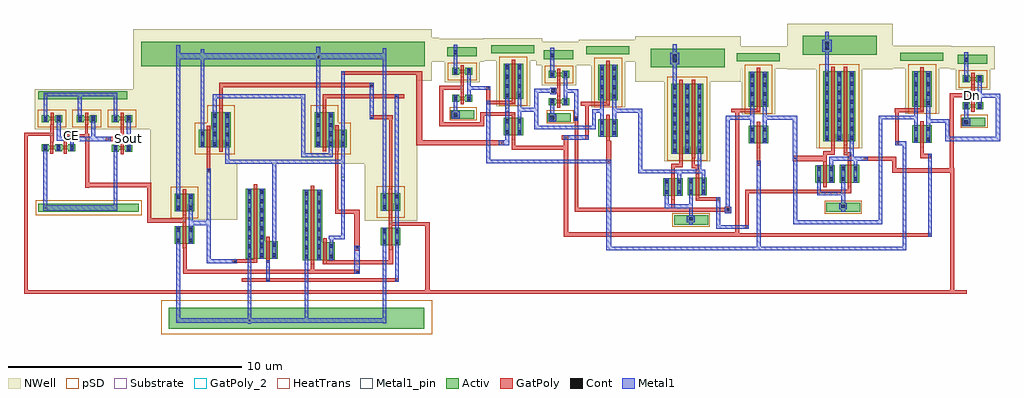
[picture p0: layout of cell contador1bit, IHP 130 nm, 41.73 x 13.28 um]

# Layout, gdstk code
import gdstk
lib = gdstk.Library(unit=1e-6, precision=5e-09)
def R(c, l, rs):  # rectangles x0, y0, x1, y1
    for r in rs: c.add(gdstk.rectangle(r[:2], r[2:], *l))
def A(c, l, x, y, w, h, nx, ny, dx, dy):  # array of equal rectangles
    R(c, l, [(x+i*dx, y+j*dy, x+i*dx+w, y+j*dy+h) for i in range(nx) for j in range(ny)])
Activ = (1, 0)
GatPoly = (5, 0)
GatPoly_2 = (5, 2)
Cont = (6, 0)
Metal1 = (8, 0)
Metal1_pin = (8, 2)
pSD = (14, 0)
NWell = (31, 0)
Substrate = (40, 0)
HeatTrans = (51, 0)

pmos = lib.new_cell('pmos')
R(pmos, Activ, [(0,0,0.3,0.3), (0.57,0,0.87,0.3), (0,0.075,0.87,0.225)])
R(pmos, GatPoly, [(0.37,-0.105,0.5,0.405), (0.37,-0.105,0.5,0.405)])
R(pmos, Cont, [(0.07,0.07,0.23,0.23), (0.64,0.07,0.8,0.23)])
R(pmos, Metal1, [(0.07,0.02,0.23,0.28), (0.07,0.02,0.23,0.28), (0.64,0.02,0.8,0.28), (0.64,0.02,0.8,0.28)])
R(pmos, pSD, [(-0.18,-0.225,1.05,0.525)])
R(pmos, NWell, [(-0.31,-0.31,1.18,0.61)])
R(pmos, Substrate, [(0.57,0,0.87,0.3)])
R(pmos, HeatTrans, [(0.37,-0.105,0.5,0.405)])
pmos.add(gdstk.Label('pmos', (0.435,0.15), layer=63, texttype=0))
pmos.add(gdstk.Label('pmos', (0.435,0.15), layer=51, texttype=0))

nmos_1 = lib.new_cell('nmos$1')
R(nmos_1, Activ, [(0,0,0.3,0.3), (0.57,0,0.87,0.3), (0,0.075,0.87,0.225)])
R(nmos_1, GatPoly, [(0.37,-0.105,0.5,0.405)])
R(nmos_1, GatPoly_2, [(0.37,-0.105,0.5,0.405)])
R(nmos_1, Cont, [(0.07,0.07,0.23,0.23), (0.64,0.07,0.8,0.23)])
R(nmos_1, Metal1, [(0.07,0.02,0.23,0.28), (0.64,0.02,0.8,0.28)])
R(nmos_1, Metal1_pin, [(0.07,0.02,0.23,0.28), (0.64,0.02,0.8,0.28)])
R(nmos_1, HeatTrans, [(0.37,-0.105,0.5,0.405)])
nmos_1.add(gdstk.Label('nmos', (0.435,0.15), layer=63, texttype=0))
nmos_1.add(gdstk.Label('nmos', (0.435,0.15), layer=51, texttype=0))

inversor = lib.new_cell('inversor')
R(inversor, Activ, [(0.69,-0.325,1.695,0.04), (0.53,2.34,1.795,2.73)])
R(inversor, GatPoly, [(1.115,0.69,1.245,1.53)])
R(inversor, Cont, [(0.815,-0.235,0.975,-0.075), (0.815,2.43,0.975,2.59)])
R(inversor, Metal1, [(0.735,-0.31,1.065,-0.005), (0.815,-0.28,0.975,0.54), (1.385,0.54,1.545,1.735), (0.815,1.7,0.975,2.835)])
R(inversor, Metal1_pin, [(0.815,-0.235,0.975,-0.075), (0.815,2.43,0.975,2.59)])
R(inversor, pSD, [(0.655,-0.395,1.81,0.165)])
R(inversor, NWell, [(0.2,2.1,2.115,3.095)])
inversor.add(gdstk.Reference(pmos, (0.745,1.55)))
inversor.add(gdstk.Reference(nmos_1, (0.745,0.39)))
inversor.add(gdstk.Label('Vss', (0.905,-0.165), layer=8, texttype=2))
inversor.add(gdstk.Label('Vdd', (0.87,2.535), layer=8, texttype=2))

pmos_1_1 = lib.new_cell('pmos$1$1')
R(pmos_1_1, Activ, [(0,0,0.3,0.3), (0,0,0.83,3), (0.53,0,0.83,0.3)])
R(pmos_1_1, GatPoly, [(0.34,-0.18,0.49,3.18), (0.34,-0.18,0.49,3.18)])
A(pmos_1_1, Cont, 0.07, 0.07, 0.16, 0.16, 1, 7, 0, 0.385)
A(pmos_1_1, Cont, 0.6, 0.07, 0.16, 0.16, 1, 7, 0, 0.385)
R(pmos_1_1, Cont, [(0.07,2.77,0.23,2.93), (0.6,2.77,0.76,2.93)])
R(pmos_1_1, Metal1, [(0.07,0,0.23,3), (0.07,0,0.23,3), (0.6,0,0.76,3), (0.6,0,0.76,3)])
R(pmos_1_1, pSD, [(-0.18,-0.3,1.01,3.3)])
R(pmos_1_1, NWell, [(-0.31,-0.31,1.14,3.31)])
R(pmos_1_1, Substrate, [(0.53,0,0.83,0.3)])
R(pmos_1_1, HeatTrans, [(0.34,-0.18,0.49,3.18)])
pmos_1_1.add(gdstk.Label('pmos', (0.415,1.5), layer=63, texttype=0))
pmos_1_1.add(gdstk.Label('pmos', (0.415,1.5), layer=51, texttype=0))

nmos_1_1 = lib.new_cell('nmos$1$1')
R(nmos_1_1, Activ, [(0,0,0.3,0.3), (0,0,0.83,0.75), (0.53,0,0.83,0.3)])
R(nmos_1_1, GatPoly, [(0.34,-0.18,0.49,0.93)])
R(nmos_1_1, GatPoly_2, [(0.34,-0.18,0.49,0.93)])
R(nmos_1_1, Cont, [(0.07,0.07,0.23,0.23), (0.6,0.07,0.76,0.23), (0.07,0.52,0.23,0.68), (0.6,0.52,0.76,0.68)])
R(nmos_1_1, Metal1, [(0.07,0,0.23,0.75), (0.6,0,0.76,0.75)])
R(nmos_1_1, Metal1_pin, [(0.07,0,0.23,0.75), (0.6,0,0.76,0.75)])
R(nmos_1_1, HeatTrans, [(0.34,-0.18,0.49,0.93)])
nmos_1_1.add(gdstk.Label('nmos', (0.415,0.375), layer=63, texttype=0))
nmos_1_1.add(gdstk.Label('nmos', (0.415,0.375), layer=51, texttype=0))

puertanor = lib.new_cell('puertanor')
R(puertanor, Activ, [(8.035,3.76,9.485,4.155), (7.02,10.49,10.2,11.295)])
R(puertanor, GatPoly, [(7.905,5.935,8.055,6.365), (8.945,5.95,9.095,6.305), (8.78,6.185,9.095,6.315), (8.78,6.19,8.92,7.01), (7.905,6.21,8.4,6.365), (8.25,6.21,8.4,7.035)])
R(puertanor, Cont, [(8.675,3.945,8.835,4.075), (7.98,10.705,8.14,11.045)])
R(puertanor, Metal1, [(8.675,3.76,8.835,5.385), (8.58,3.875,8.915,4.13), (7.635,4.465,8.835,4.63), (7.635,4.465,7.795,5.125), (9.205,5.57,9.365,6.045), (8.165,5.755,8.325,6.045), (8.165,5.96,9.365,6.12), (9.04,5.96,9.2,6.87), (7.98,9.635,8.14,11.475), (7.855,10.62,8.26,11.12)])
R(puertanor, Metal1_pin, [(8.675,3.945,8.835,4.075), (7.98,10.755,8.14,11)])
R(puertanor, pSD, [(7.96,3.68,9.55,4.245)])
R(puertanor, NWell, [(6.37,9.87,10.88,11.81)])
puertanor.add(gdstk.Reference(pmos_1_1, (7.91,6.785)))
puertanor.add(gdstk.Reference(nmos_1_1, (8.605,5.02)))
puertanor.add(gdstk.Reference(nmos_1_1, (7.565,5.005)))
puertanor.add(gdstk.Reference(pmos_1_1, (8.44,6.785)))
puertanor.add(gdstk.Label('Vss', (8.74,4.01), layer=8, texttype=2))
puertanor.add(gdstk.Label('vdd', (8.06,10.865), layer=8, texttype=2))

nmos = lib.new_cell('nmos')
R(nmos, Activ, [(0,0,0.3,0.3), (0,0,0.83,0.75), (0.53,0,0.83,0.3)])
R(nmos, GatPoly, [(0.34,-0.18,0.49,0.93)])
R(nmos, GatPoly_2, [(0.34,-0.18,0.49,0.93)])
R(nmos, Cont, [(0.07,0.07,0.23,0.23), (0.6,0.07,0.76,0.23), (0.07,0.52,0.23,0.68), (0.6,0.52,0.76,0.68)])
R(nmos, Metal1, [(0.07,0,0.23,0.75), (0.6,0,0.76,0.75)])
R(nmos, Metal1_pin, [(0.07,0,0.23,0.75), (0.6,0,0.76,0.75)])
R(nmos, HeatTrans, [(0.34,-0.18,0.49,0.93)])
nmos.add(gdstk.Label('nmos', (0.415,0.375), layer=63, texttype=0))
nmos.add(gdstk.Label('nmos', (0.415,0.375), layer=51, texttype=0))

pmos_1 = lib.new_cell('pmos$1')
R(pmos_1, Activ, [(0,0,0.3,0.3), (0,0,0.83,1.5), (0.53,0,0.83,0.3)])
R(pmos_1, GatPoly, [(0.34,-0.18,0.49,1.68), (0.34,-0.18,0.49,1.68)])
A(pmos_1, Cont, 0.07, 0.07, 0.16, 0.16, 1, 4, 0, 0.4)
A(pmos_1, Cont, 0.6, 0.07, 0.16, 0.16, 1, 4, 0, 0.4)
R(pmos_1, Metal1, [(0.07,0,0.23,1.5), (0.07,0,0.23,1.5), (0.6,0,0.76,1.5), (0.6,0,0.76,1.5)])
R(pmos_1, pSD, [(-0.18,-0.3,1.01,1.8)])
R(pmos_1, NWell, [(-0.31,-0.31,1.14,1.81)])
R(pmos_1, Substrate, [(0.53,0,0.83,0.3)])
R(pmos_1, HeatTrans, [(0.34,-0.18,0.49,1.68)])
pmos_1.add(gdstk.Label('pmos', (0.415,0.75), layer=63, texttype=0))
pmos_1.add(gdstk.Label('pmos', (0.415,0.75), layer=51, texttype=0))

interruptor = lib.new_cell('interruptor')
R(interruptor, Activ, [(2.655,5.625,4.49,5.965)])
R(interruptor, GatPoly, [(2.425,3.43,3.665,3.59)])
R(interruptor, Metal1, [(3.775,2.66,3.935,3.885), (3.245,2.735,3.405,4.385)])
R(interruptor, NWell, [(2.335,5.295,4.835,6.255)])
interruptor.add(gdstk.Reference(nmos, (3.175,2.105)))
interruptor.add(gdstk.Reference(pmos_1, (3.175,3.665)))

flipflop = lib.new_cell('flipflop')
R(flipflop, GatPoly, [(4.765,5.065,4.97,8.795), (4.765,5.065,12.27,5.27), (12.11,5.065,12.27,10.54), (12.11,5.065,20.515,5.225), (12.54,5.405,12.68,7.08), (11.645,6.08,11.93,6.355), (5.235,6.13,5.39,8.31), (5.235,6.13,11.865,6.315), (9.365,6.13,9.515,6.695), (10.405,6.605,11.455,6.755), (12.68,6.92,17.06,7.08), (16.91,6.92,17.06,7.21), (18.825,7.815,18.995,8.49), (18.825,7.815,21.455,8.01), (21.28,7.815,21.455,11.215), (13.025,8.105,13.175,8.88), (5.235,8.14,5.39,10.225), (6.595,8.21,6.795,9.175), (14.56,8.305,16.02,8.54), (17.59,8.33,18.995,8.49), (20.02,8.42,20.17,8.47), (20.02,8.42,20.515,8.61), (20.02,8.47,20.17,8.9), (2.54,8.795,2.69,9.225), (2.54,8.795,4.97,8.965), (4.765,8.795,4.97,9.405), (18.955,8.985,19.105,10.56), (4.685,9.225,4.955,9.405), (5.695,9.225,5.845,10.84), (-0.555,9.805,-0.39,11.525), (-0.555,9.805,1.38,9.965), (1.205,9.805,1.38,10.395), (1.205,10.235,1.975,10.395), (1.975,10.24,2.69,10.395), (1.455,10.735,1.625,11.515), (21.28,11.04,22.335,11.215), (4.24,11.225,4.63,11.39), (-0.555,11.36,0.495,11.525)])
R(flipflop, GatPoly_2, [(16.745,8.56,16.885,8.69), (22.205,11.04,22.335,11.205), (0.365,11.355,0.495,11.525)])
R(flipflop, Cont, [(20.43,5.135,20.45,5.155), (12.605,5.48,12.625,5.5), (11.735,6.16,11.845,6.28), (11.365,6.67,11.395,6.695), (13.095,8.2,13.115,8.225), (6.675,8.28,6.715,8.305), (17.66,8.4,17.695,8.43), (14.63,8.405,14.685,8.455), (20.435,8.5,20.455,8.535), (19.025,9.06,19.045,9.08), (4.85,9.29,4.885,9.33), (5.765,9.315,5.785,9.33), (5.255,10.075,5.365,10.165), (5.255,10.075,5.365,10.165), (1.525,10.805,1.55,10.825), (4.24,11.225,4.385,11.39), (1.525,11.43,1.56,11.455)])
R(flipflop, Metal1, [(6.59,4.49,6.795,8.21), (6.59,4.49,13.445,4.65), (13.445,4.49,19.42,4.65), (19.26,4.49,19.42,9.145), (13.025,4.65,13.185,8.32), (20.355,5.065,20.515,8.61), (11.295,5.405,11.455,6.755), (11.295,5.405,12.68,5.57), (14.58,5.615,18.395,5.775), (14.58,5.615,14.745,8.32), (18.235,5.615,18.395,10.255), (11.645,6.08,11.93,6.355), (11.705,6.13,11.865,10.235), (7.95,7.78,9.785,7.945), (7.95,7.79,8.12,10.535), (1.45,8.21,1.625,10.885), (1.45,8.21,5.84,8.37), (5.84,8.21,6.795,8.37), (14.56,8.32,14.745,10.24), (14.58,8.32,14.745,8.535), (17.16,8.33,17.77,8.49), (18.955,8.985,19.42,9.145), (21.085,9.15,21.255,10.095), (21.085,9.15,23.425,9.35), (23.245,9.15,23.425,11.185), (4.765,9.225,5.715,9.405), (5.59,9.225,5.845,9.405), (3.51,9.66,6.14,9.82), (3.51,9.66,3.67,10.585), (5.98,9.66,6.14,10.525), (20.28,9.935,21.255,10.095), (5.23,10.03,5.39,11.38), (11.705,10.07,12.915,10.235), (13.285,10.075,14.745,10.24), (18.235,10.09,19.91,10.255), (6.02,10.365,6.485,10.525), (6.855,10.37,8.12,10.535), (2.805,10.42,3.67,10.585), (3.51,10.42,3.67,11.39), (22.475,11.02,23.425,11.185), (4.19,11.17,4.44,11.44), (4.77,11.22,5.39,11.38), (3.51,11.225,4.385,11.39), (0.635,11.355,1.625,11.515)])
R(flipflop, Metal1_pin, [(2.27,10.415,2.43,10.58)])
R(flipflop, NWell, [(5.495,12.41,5.945,12.545)])
flipflop.add(gdstk.Reference(inversor, (3.385,10.31)))
flipflop.add(gdstk.Reference(puertanor, (1.46,1.825)))
flipflop.add(gdstk.Reference(interruptor, (-0.975,7.3)))
flipflop.add(gdstk.Reference(interruptor, (3.08,7.25)))
flipflop.add(gdstk.Reference(interruptor, (9.51,6.955)))
flipflop.add(gdstk.Reference(inversor, (21.09,10.125)))
flipflop.add(gdstk.Reference(puertanor, (7.965,2.37)))
flipflop.add(gdstk.Reference(interruptor, (16.505,6.975)))
flipflop.add(gdstk.Reference(inversor, (-0.75,10.445)))
flipflop.add(gdstk.Label('clk', (0.43,11.44), layer=5, texttype=2))
flipflop.add(gdstk.Label('clr', (16.82,8.605), layer=5, texttype=2))

pmos_2 = lib.new_cell('pmos$2')
R(pmos_2, Activ, [(0,0,0.3,0.3), (0,0,0.83,0.75), (0.53,0,0.83,0.3)])
R(pmos_2, GatPoly, [(0.34,-0.18,0.49,0.93), (0.34,-0.18,0.49,0.93)])
R(pmos_2, Cont, [(0.07,0.07,0.23,0.23), (0.6,0.07,0.76,0.23), (0.07,0.52,0.23,0.68), (0.6,0.52,0.76,0.68)])
R(pmos_2, Metal1, [(0.07,0,0.23,0.75), (0.07,0,0.23,0.75), (0.6,0,0.76,0.75), (0.6,0,0.76,0.75)])
R(pmos_2, pSD, [(-0.18,-0.3,1.01,1.05)])
R(pmos_2, NWell, [(-0.31,-0.31,1.14,1.06)])
R(pmos_2, Substrate, [(0.53,0,0.83,0.3)])
R(pmos_2, HeatTrans, [(0.34,-0.18,0.49,0.93)])
pmos_2.add(gdstk.Label('pmos', (0.415,0.375), layer=63, texttype=0))
pmos_2.add(gdstk.Label('pmos', (0.415,0.375), layer=51, texttype=0))

pmos_1_2 = lib.new_cell('pmos$1$2')
R(pmos_1_2, Activ, [(0,0,0.3,0.3), (0,0,0.83,1.5), (0.53,0,0.83,0.3)])
R(pmos_1_2, GatPoly, [(0.34,-0.18,0.49,1.68), (0.34,-0.18,0.49,1.68)])
A(pmos_1_2, Cont, 0.07, 0.07, 0.16, 0.16, 1, 4, 0, 0.4)
A(pmos_1_2, Cont, 0.6, 0.07, 0.16, 0.16, 1, 4, 0, 0.4)
R(pmos_1_2, Metal1, [(0.07,0,0.23,1.5), (0.07,0,0.23,1.5), (0.6,0,0.76,1.5), (0.6,0,0.76,1.5)])
R(pmos_1_2, pSD, [(-0.18,-0.3,1.01,1.8)])
R(pmos_1_2, NWell, [(-0.31,-0.31,1.14,1.81)])
R(pmos_1_2, Substrate, [(0.53,0,0.83,0.3)])
R(pmos_1_2, HeatTrans, [(0.34,-0.18,0.49,1.68)])
pmos_1_2.add(gdstk.Label('pmos', (0.415,0.75), layer=63, texttype=0))
pmos_1_2.add(gdstk.Label('pmos', (0.415,0.75), layer=51, texttype=0))

nmos_2 = lib.new_cell('nmos$2')
R(nmos_2, Activ, [(0,0,0.3,0.3), (0,0,0.83,0.75), (0.53,0,0.83,0.3)])
R(nmos_2, GatPoly, [(0.34,-0.18,0.49,0.93)])
R(nmos_2, GatPoly_2, [(0.34,-0.18,0.49,0.93)])
R(nmos_2, Cont, [(0.07,0.07,0.23,0.23), (0.6,0.07,0.76,0.23), (0.07,0.52,0.23,0.68), (0.6,0.52,0.76,0.68)])
R(nmos_2, Metal1, [(0.07,0,0.23,0.75), (0.6,0,0.76,0.75)])
R(nmos_2, Metal1_pin, [(0.07,0,0.23,0.75), (0.6,0,0.76,0.75)])
R(nmos_2, HeatTrans, [(0.34,-0.18,0.49,0.93)])
nmos_2.add(gdstk.Label('nmos', (0.415,0.375), layer=63, texttype=0))
nmos_2.add(gdstk.Label('nmos', (0.415,0.375), layer=51, texttype=0))

nmos_1_2 = lib.new_cell('nmos$1$2')
R(nmos_1_2, Activ, [(0,0,0.3,0.3), (0,0,0.83,3), (0.53,0,0.83,0.3)])
R(nmos_1_2, GatPoly, [(0.34,-0.18,0.49,3.18)])
R(nmos_1_2, GatPoly_2, [(0.34,-0.18,0.49,3.18)])
A(nmos_1_2, Cont, 0.07, 0.07, 0.16, 0.16, 1, 7, 0, 0.385)
A(nmos_1_2, Cont, 0.6, 0.07, 0.16, 0.16, 1, 7, 0, 0.385)
R(nmos_1_2, Cont, [(0.07,2.77,0.23,2.93), (0.6,2.77,0.76,2.93)])
R(nmos_1_2, Metal1, [(0.07,0,0.23,3), (0.6,0,0.76,3)])
R(nmos_1_2, Metal1_pin, [(0.07,0,0.23,3), (0.6,0,0.76,3)])
R(nmos_1_2, HeatTrans, [(0.34,-0.18,0.49,3.18)])
nmos_1_2.add(gdstk.Label('nmos', (0.415,1.5), layer=63, texttype=0))
nmos_1_2.add(gdstk.Label('nmos', (0.415,1.5), layer=51, texttype=0))

puertaxor = lib.new_cell('puertaxor')
R(puertaxor, Activ, [(1.23,-3.525,12.175,-2.63), (0.055,7.705,12.19,8.745)])
R(puertaxor, GatPoly, [(4.36,-1.52,11.075,-1.36), (1.85,-1.175,8,-1.015), (1.85,-1.175,2.005,0.1), (7.32,-1.175,7.465,-0.52), (7.615,-1.175,9.415,-1.015), (7.825,-0.77,10.84,-0.59), (10.655,-0.77,10.84,-0.01), (3.98,-0.715,5.03,-0.56), (9.18,-0.195,9.4,1.56), (10.655,0.43,10.805,1.595), (1.84,0.6,1.99,1.425), (8.355,1.385,8.495,4.195), (8.355,1.385,9.4,1.56), (10.66,2.29,10.805,5.6), (2.87,3.17,3.02,4.155), (9.84,5.43,10.82,5.6), (3.4,5.505,3.55,6.995), (7.825,5.555,7.975,6.5), (7.825,6.335,11.31,6.5), (3.4,6.79,10,6.995)])
R(puertaxor, GatPoly_2, [(1.84,0.91,1.99,1.08), (10.655,0.915,10.805,1.03)])
R(puertaxor, Cont, [(4.665,-3.21,4.725,-3.14), (5.46,-1.475,5.525,-1.425), (10.965,-1.465,11.02,-1.425), (9.26,-1.14,9.355,-1.075), (4.03,-0.68,4.1,-0.62), (5.47,-0.68,5.505,-0.645), (9.26,-0.085,9.335,-0.01), (2.925,3.225,2.975,3.265), (9.895,5.475,9.95,5.525), (10.945,6.385,11.02,6.445), (9.88,6.84,9.96,6.915), (7.605,8.04,7.685,8.15)])
R(puertaxor, Metal1, [(4.61,-3.31,4.77,-0.25), (10.385,-3.3,10.545,0.19), (1.57,-3.275,1.73,0.355), (1.57,-3.275,10.545,-3.07), (7.05,-3.235,7.21,-0.3), (5.405,-1.52,5.565,-0.605), (10.915,-1.52,11.075,0.105), (9.18,-1.175,9.415,0.03), (2.87,-0.72,3.03,1.07), (2.87,-0.72,4.15,-0.56), (8.115,-0.06,8.27,0.45), (5.67,0,5.83,3.7), (8.09,0.29,8.775,0.45), (8.615,0.29,8.775,2.955), (2.1,0.555,2.26,1.735), (10.915,0.62,11.075,1.75), (2.1,0.905,3.03,1.08), (2.87,0.905,3.03,3.31), (1.57,1.875,1.73,8.595), (10.385,1.9,10.545,8.475), (10.91,1.9,11.075,6.5), (8.615,2.68,8.775,4.385), (3.66,3.53,3.825,4.455), (3.665,3.53,5.83,3.7), (5.665,3.535,8.775,3.7), (6.905,3.815,7.07,6.49), (6.905,3.815,8.26,3.975), (8.085,3.815,8.26,4.425), (2.6,4.6,2.76,8.425), (7.555,4.985,7.715,8.52), (3.13,5.295,3.3,6.49), (9.84,5.43,10,6.995), (3.13,6.33,7.025,6.49), (1.57,8,10.545,8.25)])
R(puertaxor, Metal1_pin, [(4.665,-3.21,4.725,-3.14), (8.615,2.795,8.775,2.975), (7.605,8.04,7.685,8.15)])
R(puertaxor, pSD, [(0.91,-3.765,12.51,-2.305)])
R(puertaxor, NWell, [(9.625,1.08,11.87,8.605), (0.44,1.13,4.175,8.37), (3.395,3.535,9.975,8.745), (-0.27,7.08,12.49,9.27)])
puertaxor.add(gdstk.Reference(pmos_2, (8.015,4.235)))
puertaxor.add(gdstk.Reference(pmos_1_2, (7.485,4.235)))
puertaxor.add(gdstk.Reference(nmos_2, (5.07,-0.535)))
puertaxor.add(gdstk.Reference(nmos_1_2, (6.98,-0.59)))
puertaxor.add(gdstk.Reference(nmos_2, (7.51,-0.59)))
puertaxor.add(gdstk.Reference(nmos_1_2, (4.54,-0.535)))
puertaxor.add(gdstk.Reference(pmos_2, (1.5,1.5)))
puertaxor.add(gdstk.Reference(pmos_2, (10.315,1.525)))
puertaxor.add(gdstk.Reference(nmos_2, (1.5,0.1)))
puertaxor.add(gdstk.Reference(nmos_2, (10.315,0.04)))
puertaxor.add(gdstk.Reference(pmos_2, (2.53,4.225)))
puertaxor.add(gdstk.Reference(pmos_1_2, (3.06,4.225)))
puertaxor.add(gdstk.Label('Vdd', (7.625,8.08), layer=6, texttype=0))
puertaxor.add(gdstk.Label('vss', (4.695,-3.175), layer=8, texttype=2))
puertaxor.add(gdstk.Label('A', (10.715,0.985), layer=5, texttype=2))
puertaxor.add(gdstk.Label('B', (1.89,0.975), layer=5, texttype=2))

nmos_3 = lib.new_cell('nmos$3')
R(nmos_3, Activ, [(0,0,0.3,0.3), (0.57,0,0.87,0.3), (0,0.075,0.87,0.225)])
R(nmos_3, GatPoly, [(0.37,-0.105,0.5,0.405)])
R(nmos_3, GatPoly_2, [(0.37,-0.105,0.5,0.405)])
R(nmos_3, Cont, [(0.07,0.07,0.23,0.23), (0.64,0.07,0.8,0.23)])
R(nmos_3, Metal1, [(0.07,0.02,0.23,0.28), (0.64,0.02,0.8,0.28)])
R(nmos_3, Metal1_pin, [(0.07,0.02,0.23,0.28), (0.64,0.02,0.8,0.28)])
R(nmos_3, HeatTrans, [(0.37,-0.105,0.5,0.405)])
nmos_3.add(gdstk.Label('nmos', (0.435,0.15), layer=63, texttype=0))
nmos_3.add(gdstk.Label('nmos', (0.435,0.15), layer=51, texttype=0))

pmos_3 = lib.new_cell('pmos$3')
R(pmos_3, Activ, [(0,0,0.3,0.3), (0.57,0,0.87,0.3), (0,0.075,0.87,0.225)])
R(pmos_3, GatPoly, [(0.37,-0.105,0.5,0.405), (0.37,-0.105,0.5,0.405)])
R(pmos_3, Cont, [(0.07,0.07,0.23,0.23), (0.64,0.07,0.8,0.23)])
R(pmos_3, Metal1, [(0.07,0.02,0.23,0.28), (0.07,0.02,0.23,0.28), (0.64,0.02,0.8,0.28), (0.64,0.02,0.8,0.28)])
R(pmos_3, pSD, [(-0.18,-0.225,1.05,0.525)])
R(pmos_3, NWell, [(-0.31,-0.31,1.18,0.61)])
R(pmos_3, Substrate, [(0.57,0,0.87,0.3)])
R(pmos_3, HeatTrans, [(0.37,-0.105,0.5,0.405)])
pmos_3.add(gdstk.Label('pmos', (0.435,0.15), layer=63, texttype=0))
pmos_3.add(gdstk.Label('pmos', (0.435,0.15), layer=51, texttype=0))

and_ = lib.new_cell('and')
R(and_, Activ, [(-0.89,-2.835,3.405,-2.475), (-0.9,1.99,2.915,2.335)])
R(and_, GatPoly, [(2.62,0.15,2.75,0.905), (-0.38,0.17,-0.245,0.9), (0.19,0.17,0.32,0.495), (1.995,0.195,2.75,0.385), (0.19,0.385,1.27,0.495), (1.105,0.385,1.225,0.9)])
R(and_, GatPoly_2, [(0.455,0.385,0.59,0.495), (-0.38,0.415,-0.245,0.535)])
R(and_, Cont, [(-0.615,-2.675,-0.58,-2.65), (2.08,0.285,2.115,0.305), (-0.605,2.185,-0.58,2.205)])
R(and_, Metal1, [(-0.68,-2.775,2.47,-2.555), (-0.68,-2.775,-0.52,-1.175), (2.32,-2.775,2.47,-1.175), (-0.68,-1.175,-0.52,0.045), (2.32,-1.175,2.48,-0.235), (2.89,0.025,3.05,1.03), (0.46,0.045,0.62,0.385), (0.44,0.195,1.535,0.385), (1.375,0.195,1.535,1.025), (1.375,0.195,2.195,0.385), (-0.105,0.205,0.055,1.025), (-0.105,0.205,0.68,0.385), (-0.675,1.285,-0.515,2.265), (0.79,1.285,0.965,1.435), (2.33,1.29,2.48,2.265), (0.79,1.305,0.965,2.23), (-0.675,2.115,2.455,2.265)])
R(and_, Metal1_pin, [(-0.68,-2.775,-0.52,-2.555), (2.89,0.23,3.05,0.39), (-0.675,2.115,-0.515,2.265)])
R(and_, pSD, [(-1.005,-2.97,3.53,-2.325)])
R(and_, NWell, [(1.915,0.695,1.94,1.62), (-1.055,1.615,3.435,1.91), (-1.055,1.91,-1.01,2.42), (-1.01,1.91,3.435,2.42)])
and_.add(gdstk.Reference(nmos_3, (-0.75,-0.235)))
and_.add(gdstk.Reference(nmos_3, (-0.18,-0.235)))
and_.add(gdstk.Reference(pmos_3, (0.735,1.005)))
and_.add(gdstk.Reference(pmos_3, (-0.745,1.005)))
and_.add(gdstk.Reference(nmos_3, (2.25,-0.255)))
and_.add(gdstk.Reference(pmos_3, (2.25,1.01)))
and_.add(gdstk.Label('Vss', (-0.595,-2.665), layer=8, texttype=2))
and_.add(gdstk.Label('vdd', (-0.595,2.19), layer=8, texttype=2))

contador1bit = lib.new_cell('contador1bit')
R(contador1bit, GatPoly, [(-18.31,2.635,-17.82,2.785), (-18.31,2.635,-18.16,9.525), (-17.82,2.635,-0.955,2.785), (-1.155,2.635,7.27,2.785), (-1.145,2.635,-0.955,5.695), (7.27,2.635,22.01,2.785), (21.29,2.635,21.46,8.01), (-2.705,5.54,-0.955,5.695), (-13.03,5.66,-12.865,7.39), (-13.03,5.66,-11.37,5.86), (-15.695,7.17,-15.53,8.38), (-15.695,7.185,-12.92,7.39), (-15.695,8.38,-15.53,9.465), (-1.535,8.975,-1.28,12.155), (-1.49,8.975,2.215,9.19), (-18.31,9.38,-17.045,9.525), (-4.735,12.005,-1.33,12.155)])
R(contador1bit, Cont, [(2.1,9.06,2.13,9.095), (-4.67,12.075,-4.64,12.09)])
R(contador1bit, Metal1, [(2,8.975,2.43,9.19), (2.27,8.975,2.43,9.405), (-4.735,9.65,-4.585,12.155)])
R(contador1bit, NWell, [(-13.37,9.665,-12.895,11.745), (-13.64,11.385,-13.355,11.745), (-0.87,12.545,-0.55,13.585)])
contador1bit.add(gdstk.Reference(flipflop, (0,0)))
contador1bit.add(gdstk.Reference(puertaxor, (-13.36,4.665)))
contador1bit.add(gdstk.Reference(and_, (-16.8,8.965)))
contador1bit.add(gdstk.Label('Sout', (-13.83,9.275), layer=8, texttype=2))
contador1bit.add(gdstk.Label('Dn', (22.27,11.12), layer=5, texttype=2))
contador1bit.add(gdstk.Label('CE', (-16.28,9.405), layer=5, texttype=2))

lib.write_gds('contador1bit.gds')
